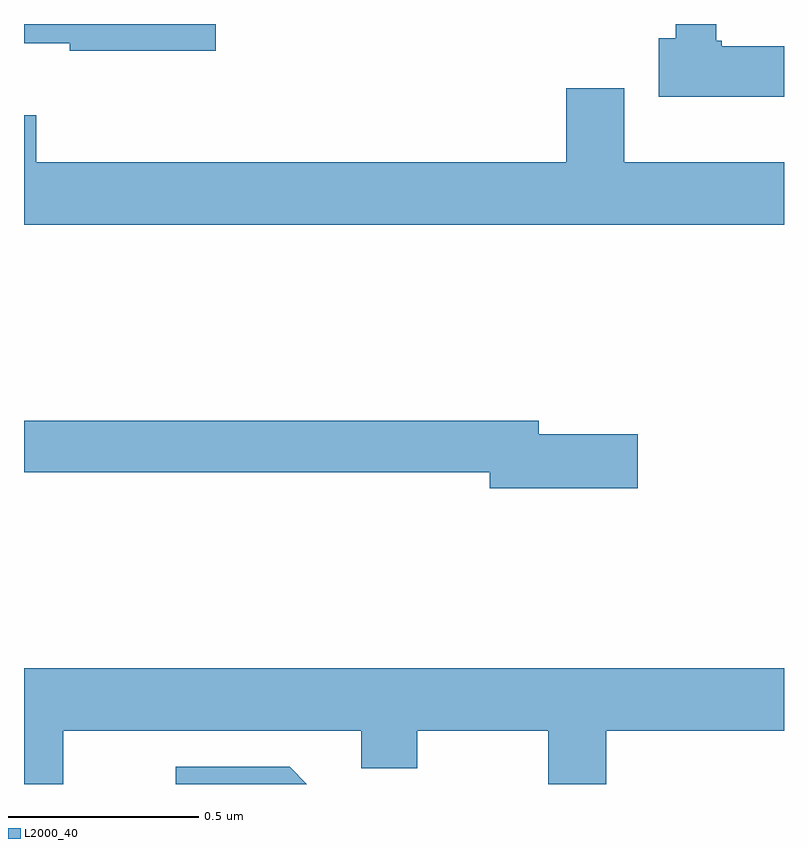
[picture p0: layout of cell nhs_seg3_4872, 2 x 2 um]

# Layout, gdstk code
import gdstk
lib = gdstk.Library(unit=1e-6, precision=1e-09)
def P(c, l, *ps):  # polygons
    for p in ps: c.add(gdstk.Polygon(p, *l))
L2000_40 = (2000, 40)

nhs_seg3_4872 = lib.new_cell('nhs_seg3_4872')
P(nhs_seg3_4872, L2000_40, [(173,745.342),(172.836,745.342),(172.836,745.356),(172.822,745.356),(172.822,745.4),(172.715,745.4),(172.715,745.362),(172.67,745.362),(172.67,745.208),(173,745.208)],
  [(171.505,745.4),(171,745.4),(171,745.349),(171.12,745.349),(171.12,745.33),(171.505,745.33)],
  [(173,745.036),(172.579,745.036),(172.579,745.231),(172.427,745.231),(172.427,745.036),(171.032,745.036),(171.032,745.16),(171,745.16),(171,744.872),(173,744.872)],
  [(172.615,744.32),(172.354,744.32),(172.354,744.356),(171,744.356),(171,744.22),(172.226,744.22),(172.226,744.178),(172.615,744.178)],
  [(171.103,743.54),(171.887,743.54),(171.887,743.441),(172.035,743.441),(172.035,743.54),(172.379,743.54),(172.379,743.4),(172.532,743.4),(172.532,743.54),(173,743.54),(173,743.704),(171,743.704),(171,743.4),(171.103,743.4)],
  [(171.699,743.445),(171.399,743.445),(171.399,743.4),(171.744,743.4)])

lib.write_gds('nhs_seg3_4872.gds')
